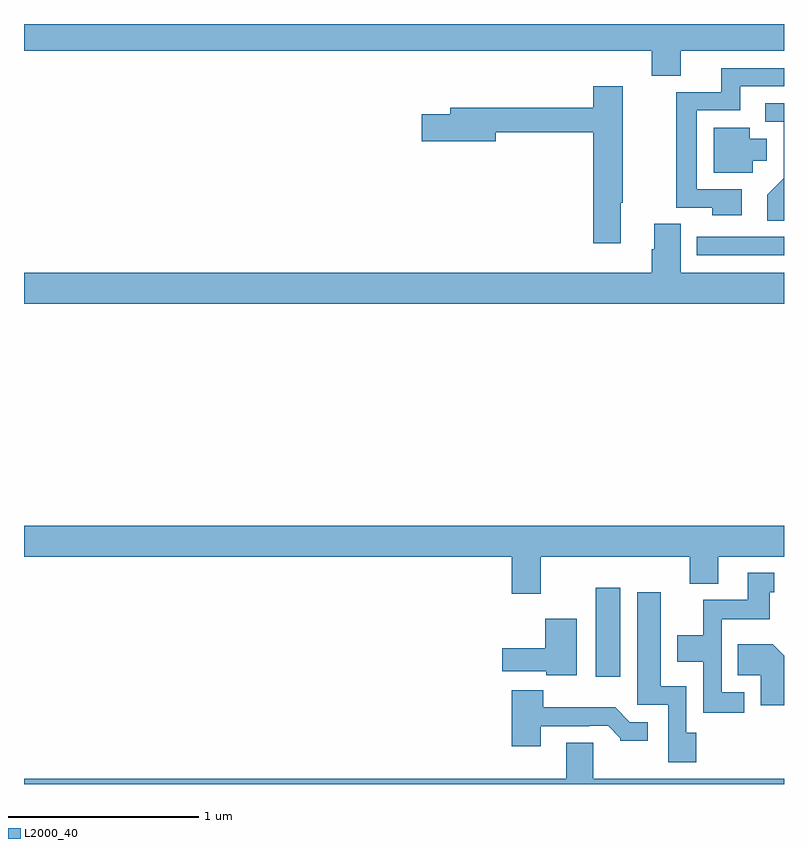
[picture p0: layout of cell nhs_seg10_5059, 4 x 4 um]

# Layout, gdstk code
import gdstk
lib = gdstk.Library(unit=1e-6, precision=1e-09)
def R(c, l, rs):  # rectangles x0, y0, x1, y1
    for r in rs: c.add(gdstk.rectangle(r[:2], r[2:], *l))
def P(c, l, *ps):  # polygons
    for p in ps: c.add(gdstk.Polygon(p, *l))
L2000_40 = (2000, 40)

nhs_seg10_5059 = lib.new_cell('nhs_seg10_5059')
R(nhs_seg10_5059, L2000_40, [(408.008,1253.064,408.139,1253.533), (408.542,1255.284,409,1255.38)])
P(nhs_seg10_5059, L2000_40, [(408.457,1256.36),(409,1256.36),(409,1256.5),(405,1256.5),(405,1256.36),(408.305,1256.36),(408.305,1256.227),(408.457,1256.227)],
  [(408.778,1255.629),(408.54,1255.629),(408.54,1256.046),(408.769,1256.046),(408.769,1256.172),(409,1256.172),(409,1256.268),(408.671,1256.268),(408.671,1256.142),(408.432,1256.142),(408.432,1255.533),(408.622,1255.533),(408.622,1255.493),(408.778,1255.493)],
  [(408.142,1255.559),(408.15,1255.559),(408.15,1256.173),(407.996,1256.173),(407.996,1256.059),(407.243,1256.059),(407.243,1256.025),(407.094,1256.025),(407.094,1255.883),(407.482,1255.883),(407.482,1255.93),(407.996,1255.93),(407.996,1255.347),(408.142,1255.347)],
  [(409,1256.082),(408.9,1256.082),(408.9,1255.986),(408.999,1255.986),(408.999,1255.687),(408.913,1255.601),(408.913,1255.465),(409,1255.465)],
  [(408.835,1255.781),(408.91,1255.781),(408.91,1255.897),(408.82,1255.897),(408.82,1255.954),(408.629,1255.954),(408.629,1255.718),(408.835,1255.718)],
  [(409,1255.192),(408.457,1255.192),(408.457,1255.448),(408.317,1255.448),(408.317,1255.314),(408.305,1255.314),(408.305,1255.192),(405,1255.192),(405,1255.028),(409,1255.028)],
  [(407.719,1253.696),(408.503,1253.696),(408.503,1253.555),(408.655,1253.555),(408.655,1253.696),(409,1253.696),(409,1253.86),(405,1253.86),(405,1253.696),(407.567,1253.696),(407.567,1253.502),(407.719,1253.502)],
  [(408.79,1252.983),(408.672,1252.983),(408.672,1253.366),(408.925,1253.366),(408.925,1253.508),(408.949,1253.508),(408.949,1253.611),(408.809,1253.611),(408.809,1253.47),(408.574,1253.47),(408.574,1253.284),(408.437,1253.284),(408.437,1253.144),(408.576,1253.144),(408.576,1252.875),(408.79,1252.875)],
  [(408.539,1252.77),(408.486,1252.77),(408.486,1253.014),(408.352,1253.014),(408.352,1253.509),(408.227,1253.509),(408.227,1252.917),(408.39,1252.917),(408.39,1252.614),(408.539,1252.614)],
  [(407.908,1253.371),(407.744,1253.371),(407.744,1253.215),(407.517,1253.215),(407.517,1253.093),(407.748,1253.093),(407.748,1253.072),(407.908,1253.072)],
  [(409,1253.176),(408.94,1253.236),(408.757,1253.236),(408.757,1253.072),(408.878,1253.072),(408.878,1252.915),(409,1252.915)],
  [(407.719,1252.803),(407.975,1252.803),(407.975,1252.806),(408.074,1252.806),(408.138,1252.742),(408.138,1252.727),(408.283,1252.727),(408.283,1252.824),(408.189,1252.824),(408.111,1252.903),(407.732,1252.903),(407.732,1252.993),(407.567,1252.993),(407.567,1252.698),(407.719,1252.698)],
  [(409,1252.528),(407.995,1252.528),(407.995,1252.718),(407.855,1252.718),(407.855,1252.528),(405,1252.528),(405,1252.5),(409,1252.5)])

lib.write_gds('nhs_seg10_5059.gds')
